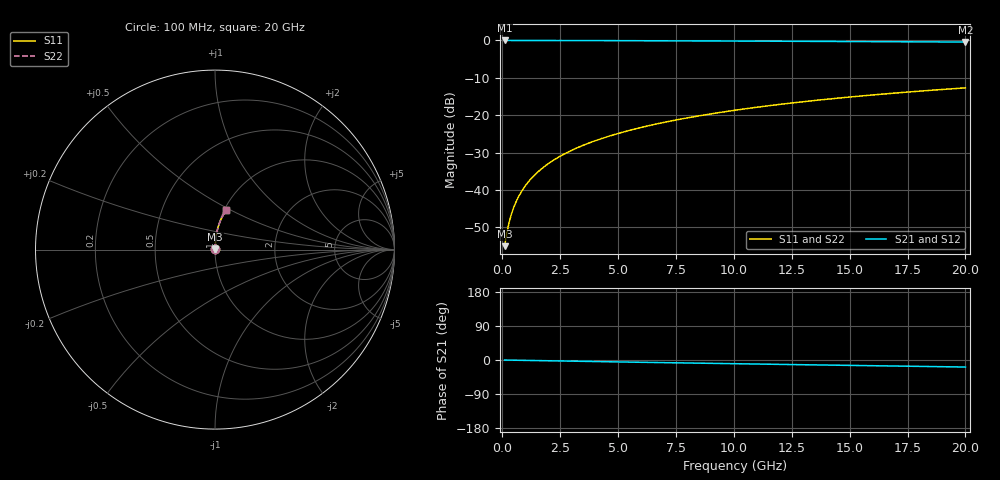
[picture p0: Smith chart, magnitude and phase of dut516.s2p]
! Touchstone file exported from HFSS 2024.1.0
!  File:  C:/UserFiles/LocalFiles/RDL_TSV_Batchsim/temp_RDL_top_516_1779679617.aedt
!  Generated:  11:29:15 AM May 25, 2026
!  Design:  RDL_top
!  Project:  temp_RDL_top_516_1779679617
!  Setup:  Setup1
!  Solution:  Sweep
! Variables:
!  dtsv = 10.80580581um
!  hbump = 3um
!  htsv = 73.88um
!  ldown = 100um
!  lrdl = 202.71um
!  p = 40
!  p1 = 53um
!  rhole = 1um
!  t = 450um
!  tdown = 3.915915916um
!  trdl = 3.88um
!  wdown = 15.38538539um
!  wrdl = 15.88um
# GHz S MA R 50.000000
! Terminal data exported
! Port[1] = Box2_T1
! Port[2] = Box2_T2
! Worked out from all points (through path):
!   200 points, 100 MHz to 20 GHz, reference 50 ohm
!   highest |S21| = -0.01 dB at 100 MHz (marker M1); lowest = -0.4 dB at 20 GHz (marker M2)
!   group delay of S21, straight-line fit = 2.56 ps
!   lowest |S11| = -55.0 dB at 100 MHz (marker M3), VSWR 1.00, Z = 50.1 + j0.118 ohm
!   |S11| at or under -10 dB: start of sweep to end of sweep
!   |S22| runs from -55.0 to -12.7 dB; largest |S21 - S12| = 2.6e-15
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0.1  0.001773 41.6  0.9987 -0.1  0.9987 -0.1  0.001773 41.6
! Gamma 0 0 0 0
! Port Impedance 50 0 50 0
0.2  0.002704 59.8  0.9986 -0.2  0.9986 -0.2  0.002704 59.8
0.3  0.003749 68.0  0.9986 -0.3  0.9986 -0.3  0.003749 68.0
0.4  0.004823 72.6  0.9985 -0.4  0.9985 -0.4  0.004823 72.6
0.5  0.00591 75.6  0.9985 -0.5  0.9985 -0.5  0.00591 75.6
0.6  0.007004 77.6  0.9984 -0.6  0.9984 -0.6  0.007004 77.6
0.8  0.009207 80.3  0.9983 -0.8  0.9983 -0.8  0.009207 80.3
1.1  0.01254 82.6  0.9981 -1.1  0.9981 -1.1  0.01254 82.6
1.5  0.01701 84.2  0.9979 -1.6  0.9979 -1.6  0.01701 84.2
1.8  0.02038 84.9  0.9976 -1.9  0.9976 -1.9  0.02038 84.9
2.1  0.02376 85.3  0.9973 -2.2  0.9973 -2.2  0.02376 85.3
2.7  0.03055 85.8  0.9966 -2.8  0.9966 -2.8  0.03055 85.8
3.5  0.03966 86.1  0.9954 -3.6  0.9954 -3.6  0.03966 86.1
4.2  0.04769 86.0  0.9942 -4.3  0.9942 -4.3  0.04769 86.0
5  0.05694 85.9  0.9927 -5.1  0.9927 -5.1  0.05694 85.9
5.9  0.06743 85.5  0.9908 -5.9  0.9908 -5.9  0.06743 85.5
6.8  0.07799 85.0  0.9887 -6.8  0.9887 -6.8  0.07799 85.0
8.3  0.09573 84.1  0.9851 -8.2  0.9851 -8.2  0.09573 84.1
10.1  0.1171 82.7  0.9804 -9.9  0.9804 -9.9  0.1171 82.7
13.4  0.1562 80.0  0.9714 -12.8  0.9714 -12.8  0.1562 80.0
16.7  0.1947 77.0  0.9616 -15.7  0.9616 -15.7  0.1947 77.0
20  0.232 74.1  0.9512 -18.6  0.9512 -18.6  0.232 74.1
